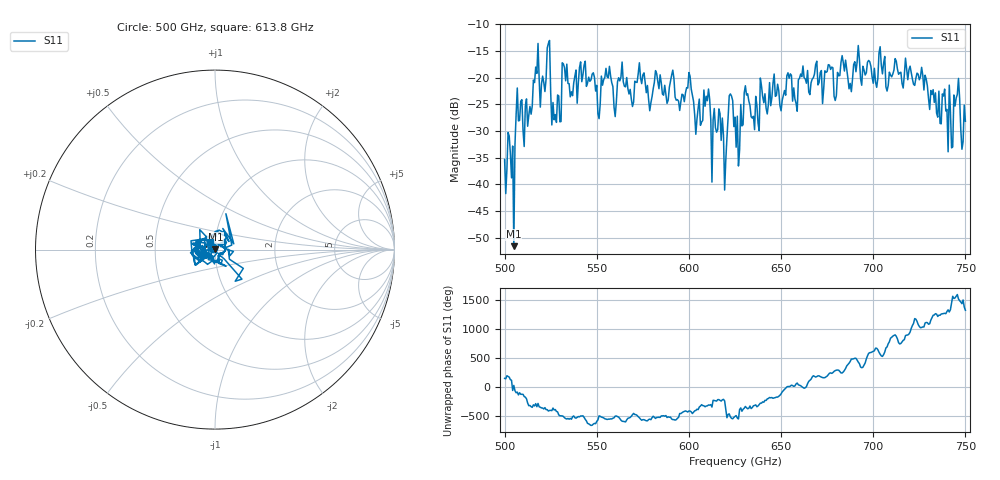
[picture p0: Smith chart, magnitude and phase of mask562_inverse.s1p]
!Created with skrf (http://scikit-rf.org).
# GHz S MA R 50.0
!freq magS11 angS11
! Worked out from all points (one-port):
!   401 points, 500 GHz to 750 GHz, reference 50 ohm
!   lowest |S11| = -51.6 dB at 505 GHz (marker M1), VSWR 1.01, Z = 50.2 + j0.101 ohm
!   |S11| at or under -10 dB: start of sweep to end of sweep
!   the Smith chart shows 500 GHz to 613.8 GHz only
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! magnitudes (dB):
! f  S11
! 500 GHz  -35.3
! 505 GHz  -51.6
! 507.5 GHz  -28.1
! 513.8 GHz  -25.4
! 516.9 GHz  -18.0
! 520.6 GHz  -19.7
! 523.8 GHz  -13.6
! 526.9 GHz  -27.9
! 531.2 GHz  -17.2
! 542.5 GHz  -19.5
! 550.6 GHz  -26.8
! 562.5 GHz  -20.6
! 593.8 GHz  -24.1
! 609.4 GHz  -23.5
! 618.8 GHz  -30.8
! 622.5 GHz  -23.1
! 625 GHz  -27.4
! 628.1 GHz  -25.0
! 631.2 GHz  -23.3
! 636.9 GHz  -25.2
! 656.2 GHz  -24.4
! 676.9 GHz  -18.5
! 680 GHz  -23.4
! 683.8 GHz  -17.2
! 687.5 GHz  -21.1
! 691.2 GHz  -17.1
! 718.8 GHz  -20.4
! 750 GHz  -28.2
